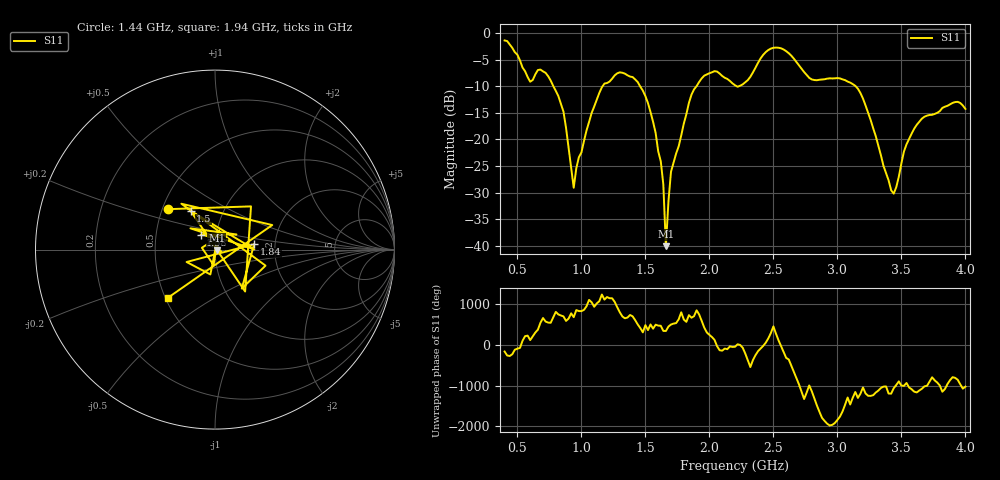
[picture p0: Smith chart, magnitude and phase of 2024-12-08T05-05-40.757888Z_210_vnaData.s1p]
!Created with skrf (http://scikit-rf.org).
# Hz S RI R 50.0
!freq ReS11 ImS11
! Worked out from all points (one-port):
!   181 points, 400 MHz to 4 GHz, reference 50 ohm
!   lowest |S11| = -40.0 dB at 1.66 GHz (marker M1), VSWR 1.02, Z = 50.9 - j0.366 ohm
!   |S11| at or under -10 dB: 780.8 MHz to 1.166 GHz (384.9 MHz wide, 39.5 % of centre); 1.458 GHz to 1.899 GHz (441.3 MHz wide, 26.3 % of centre); 3.143 GHz to end of sweep (the widest 3 of 4)
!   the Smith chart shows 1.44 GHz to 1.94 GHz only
!   S11 on the Smith chart (normalised r, x): 1.44 GHz: 0.54, +0.27; 1.5 GHz: 0.70, +0.32; 1.58 GHz: 0.84, +0.14; 1.84 GHz: 1.55, +0.10; 1.94 GHz: 0.52, -0.32
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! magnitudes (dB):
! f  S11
! 400 MHz  -1.4
! 600 MHz  -9.2
! 720 MHz  -7.5
! 860 MHz  -14.8
! 940 MHz  -29.1
! 980 MHz  -23.3
! 1.14 GHz  -11.3
! 1.3 GHz  -7.4
! 1.44 GHz  -9.2
! 1.5 GHz  -11.9
! 1.58 GHz  -18.8
! 1.64 GHz  -28.4
! 1.66 GHz  -40.0
! 1.7 GHz  -26.0
! 1.76 GHz  -21.3
! 1.84 GHz  -13.1
! 1.94 GHz  -8.5
! 2.06 GHz  -7.2
! 2.2 GHz  -9.8
! 2.48 GHz  -2.9
! 2.66 GHz  -4.8
! 2.8 GHz  -8.7
! 3.1 GHz  -9.3
! 3.2 GHz  -12.3
! 3.44 GHz  -30.2
! 3.56 GHz  -19.9
! 3.68 GHz  -15.7
! 4 GHz  -14.3
